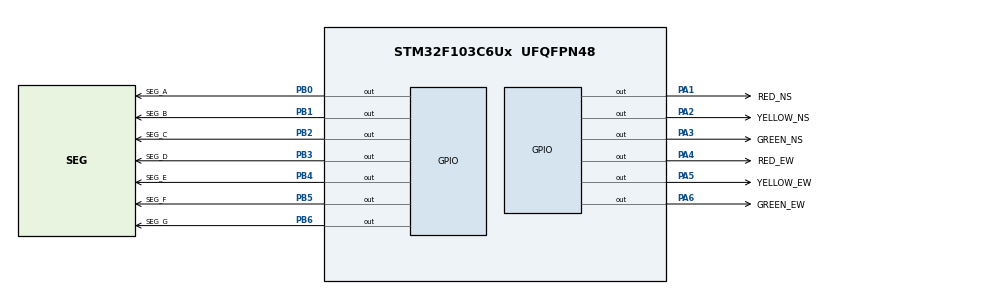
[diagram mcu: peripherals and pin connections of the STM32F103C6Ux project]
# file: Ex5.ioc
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Mcu.Family=STM32F1
Mcu.Name=STM32F103C6Ux
Mcu.Package=UFQFPN48
NVIC.PriorityGroup=NVIC_PRIORITYGROUP_4
PA1.GPIO_Label=RED_NS
PA1.Signal=GPIO_Output
PA2.GPIO_Label=YELLOW_NS
PA2.Signal=GPIO_Output
PA3.GPIO_Label=GREEN_NS
PA3.Signal=GPIO_Output
PA4.GPIO_Label=RED_EW
PA4.Signal=GPIO_Output
PA5.GPIO_Label=YELLOW_EW
PA5.Signal=GPIO_Output
PA6.GPIO_Label=GREEN_EW
PA6.Signal=GPIO_Output
PB0.GPIO_Label=SEG_A
PB0.Signal=GPIO_Output
PB1.GPIO_Label=SEG_B
PB1.Signal=GPIO_Output
PB2.GPIO_Label=SEG_C
PB2.Signal=GPIO_Output
PB3.GPIO_Label=SEG_D
PB3.Signal=GPIO_Output
PB4.GPIO_Label=SEG_E
PB4.Signal=GPIO_Output
PB5.GPIO_Label=SEG_F
PB5.Signal=GPIO_Output
PB6.GPIO_Label=SEG_G
PB6.Signal=GPIO_Output
ProjectManager.HeapSize=0x200
ProjectManager.StackSize=0x400
ProjectManager.TargetToolchain=STM32CubeIDE
RCC.APB1Freq_Value=8000000
RCC.APB2Freq_Value=8000000
VP_SYS_VS_ND.Mode=No_Debug
board=custom

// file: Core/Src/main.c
/* USER CODE BEGIN Header */
/**
  ******************************************************************************
  * @file           : main.c
  * @brief          : Main program body
  ******************************************************************************
  * @attention
  *
  * <h2><center>&copy; Copyright (c) 2026 STMicroelectronics.
  * All rights reserved.</center></h2>
  *
  * This software component is licensed by ST under BSD 3-Clause license,
  * the "License"; You may not use this file except in compliance with the
  * License. You may obtain a copy of the License at:
  *                        opensource.org/licenses/BSD-3-Clause
  *
  ******************************************************************************
  */
/* USER CODE END Header */
#include "main.h"

void SystemClock_Config(void);
static void MX_GPIO_Init(void);
/* USER CODE BEGIN PFP */
void display7SEG(int num);
/* USER CODE END PFP */

int main(void)
{

  /* MCU Configuration--------------------------------------------------------*/

  /* Reset of all peripherals, Initializes the Flash interface and the Systick. */
  HAL_Init();

  /* Configure the system clock */
  SystemClock_Config();

  /* Initialize all configured peripherals */
  MX_GPIO_Init();

  /* Infinite loop */
  /* USER CODE BEGIN WHILE */
  int sec;
  while (1)
  {
    /* USER CODE END WHILE */

    /* USER CODE BEGIN 3 */
    // ---- Giai đoạn 1: NS=GREEN (3s), EW=RED bắt đầu ----
    for (sec = 3; sec >= 1; sec--) {
        HAL_GPIO_WritePin(GPIOA, RED_NS_Pin, GPIO_PIN_SET);
        HAL_GPIO_WritePin(GPIOA, YELLOW_NS_Pin, GPIO_PIN_SET);
        HAL_GPIO_WritePin(GPIOA, GREEN_NS_Pin, GPIO_PIN_RESET);
        HAL_GPIO_WritePin(GPIOA, RED_EW_Pin, GPIO_PIN_RESET);
        HAL_GPIO_WritePin(GPIOA, YELLOW_EW_Pin, GPIO_PIN_SET);
        HAL_GPIO_WritePin(GPIOA, GREEN_EW_Pin, GPIO_PIN_SET);
        display7SEG(sec);
        HAL_Delay(1000);
    }

    // ---- Giai đoạn 2: NS=YELLOW (2s), EW=RED tiếp tục ----
    for (sec = 2; sec >= 1; sec--) {
        HAL_GPIO_WritePin(GPIOA, GREEN_NS_Pin, GPIO_PIN_SET);
        HAL_GPIO_WritePin(GPIOA, YELLOW_NS_Pin, GPIO_PIN_RESET);
        display7SEG(sec);
        HAL_Delay(1000);
    }

    // ---- Giai đoạn 3: NS=RED bắt đầu (kéo dài tổng 5s = GĐ3+GĐ4), EW=GREEN ----
    for (sec = 5; sec >= 3; sec--) {
        HAL_GPIO_WritePin(GPIOA, YELLOW_NS_Pin, GPIO_PIN_SET);
        HAL_GPIO_WritePin(GPIOA, RED_NS_Pin, GPIO_PIN_RESET);
        HAL_GPIO_WritePin(GPIOA, RED_EW_Pin, GPIO_PIN_SET);
        HAL_GPIO_WritePin(GPIOA, GREEN_EW_Pin, GPIO_PIN_RESET);
        display7SEG(sec);
        HAL_Delay(1000);
    }

    // ---- Giai đoạn 4: NS=RED tiếp tục, EW=YELLOW (2s) ----
    for (sec = 2; sec >= 1; sec--) {
        HAL_GPIO_WritePin(GPIOA, GREEN_EW_Pin, GPIO_PIN_SET);
        HAL_GPIO_WritePin(GPIOA, YELLOW_EW_Pin, GPIO_PIN_RESET);
        display7SEG(sec);
        HAL_Delay(1000);
    }
  }
  /* USER CODE END 3 */
}

void SystemClock_Config(void)
{
  RCC_OscInitTypeDef RCC_OscInitStruct = {0};
  RCC_ClkInitTypeDef RCC_ClkInitStruct = {0};

  /** Initializes the RCC Oscillators according to the specified parameters
  * in the RCC_OscInitTypeDef structure.
  */
  RCC_OscInitStruct.OscillatorType = RCC_OSCILLATORTYPE_HSI;
  RCC_OscInitStruct.HSIState = RCC_HSI_ON;
  RCC_OscInitStruct.HSICalibrationValue = RCC_HSICALIBRATION_DEFAULT;
  RCC_OscInitStruct.PLL.PLLState = RCC_PLL_NONE;
  if (HAL_RCC_OscConfig(&RCC_OscInitStruct) != HAL_OK)
  {
    Error_Handler();
  }
  /** Initializes the CPU, AHB and APB buses clocks
  */
  RCC_ClkInitStruct.ClockType = RCC_CLOCKTYPE_HCLK|RCC_CLOCKTYPE_SYSCLK
                              |RCC_CLOCKTYPE_PCLK1|RCC_CLOCKTYPE_PCLK2;
  RCC_ClkInitStruct.SYSCLKSource = RCC_SYSCLKSOURCE_HSI;
  RCC_ClkInitStruct.AHBCLKDivider = RCC_SYSCLK_DIV1;
  RCC_ClkInitStruct.APB1CLKDivider = RCC_HCLK_DIV1;
  RCC_ClkInitStruct.APB2CLKDivider = RCC_HCLK_DIV1;

  if (HAL_RCC_ClockConfig(&RCC_ClkInitStruct, FLASH_LATENCY_0) != HAL_OK)
  {
    Error_Handler();
  }
}

static void MX_GPIO_Init(void)
{
  GPIO_InitTypeDef GPIO_InitStruct = {0};

  /* GPIO Ports Clock Enable */
  __HAL_RCC_GPIOA_CLK_ENABLE();
  __HAL_RCC_GPIOB_CLK_ENABLE();

  /*Configure GPIO pin Output Level */
  HAL_GPIO_WritePin(GPIOA, RED_NS_Pin|YELLOW_NS_Pin|GREEN_NS_Pin|RED_EW_Pin
                          |YELLOW_EW_Pin|GREEN_EW_Pin, GPIO_PIN_RESET);

  /*Configure GPIO pin Output Level */
  HAL_GPIO_WritePin(GPIOB, SEG_A_Pin|SEG_B_Pin|SEG_C_Pin|SEG_D_Pin
                          |SEG_E_Pin|SEG_F_Pin|SEG_G_Pin, GPIO_PIN_RESET);

  /*Configure GPIO pins : RED_NS_Pin YELLOW_NS_Pin GREEN_NS_Pin RED_EW_Pin
                           YELLOW_EW_Pin GREEN_EW_Pin */
  GPIO_InitStruct.Pin = RED_NS_Pin|YELLOW_NS_Pin|GREEN_NS_Pin|RED_EW_Pin
                          |YELLOW_EW_Pin|GREEN_EW_Pin;
  GPIO_InitStruct.Mode = GPIO_MODE_OUTPUT_PP;
  GPIO_InitStruct.Pull = GPIO_NOPULL;
  GPIO_InitStruct.Speed = GPIO_SPEED_FREQ_LOW;
  HAL_GPIO_Init(GPIOA, &GPIO_InitStruct);

  /*Configure GPIO pins : SEG_A_Pin SEG_B_Pin SEG_C_Pin SEG_D_Pin
                           SEG_E_Pin SEG_F_Pin SEG_G_Pin */
  GPIO_InitStruct.Pin = SEG_A_Pin|SEG_B_Pin|SEG_C_Pin|SEG_D_Pin
                          |SEG_E_Pin|SEG_F_Pin|SEG_G_Pin;
  GPIO_InitStruct.Mode = GPIO_MODE_OUTPUT_PP;
  GPIO_InitStruct.Pull = GPIO_NOPULL;
  GPIO_InitStruct.Speed = GPIO_SPEED_FREQ_LOW;
  HAL_GPIO_Init(GPIOB, &GPIO_InitStruct);

}

/* USER CODE BEGIN 4 */
void display7SEG(int num)
{
    if (num == 0) {
        HAL_GPIO_WritePin(GPIOB, SEG_A_Pin, GPIO_PIN_RESET);
        HAL_GPIO_WritePin(GPIOB, SEG_B_Pin, GPIO_PIN_RESET);
        HAL_GPIO_WritePin(GPIOB, SEG_C_Pin, GPIO_PIN_RESET);
        HAL_GPIO_WritePin(GPIOB, SEG_D_Pin, GPIO_PIN_RESET);
        HAL_GPIO_WritePin(GPIOB, SEG_E_Pin, GPIO_PIN_RESET);
        HAL_GPIO_WritePin(GPIOB, SEG_F_Pin, GPIO_PIN_RESET);
        HAL_GPIO_WritePin(GPIOB, SEG_G_Pin, GPIO_PIN_SET);
    }
    else if (num == 1) {
        HAL_GPIO_WritePin(GPIOB, SEG_A_Pin, GPIO_PIN_SET);
        HAL_GPIO_WritePin(GPIOB, SEG_B_Pin, GPIO_PIN_RESET);
        HAL_GPIO_WritePin(GPIOB, SEG_C_Pin, GPIO_PIN_RESET);
        HAL_GPIO_WritePin(GPIOB, SEG_D_Pin, GPIO_PIN_SET);
        HAL_GPIO_WritePin(GPIOB, SEG_E_Pin, GPIO_PIN_SET);
        HAL_GPIO_WritePin(GPIOB, SEG_F_Pin, GPIO_PIN_SET);
        HAL_GPIO_WritePin(GPIOB, SEG_G_Pin, GPIO_PIN_SET);
    }
    else if (num == 2) {
        HAL_GPIO_WritePin(GPIOB, SEG_A_Pin, GPIO_PIN_RESET);
        HAL_GPIO_WritePin(GPIOB, SEG_B_Pin, GPIO_PIN_RESET);
        HAL_GPIO_WritePin(GPIOB, SEG_C_Pin, GPIO_PIN_SET);
        HAL_GPIO_WritePin(GPIOB, SEG_D_Pin, GPIO_PIN_RESET);
        HAL_GPIO_WritePin(GPIOB, SEG_E_Pin, GPIO_PIN_RESET);
        HAL_GPIO_WritePin(GPIOB, SEG_F_Pin, GPIO_PIN_SET);
        HAL_GPIO_WritePin(GPIOB, SEG_G_Pin, GPIO_PIN_RESET);
    }
    else if (num == 3) {
        HAL_GPIO_WritePin(GPIOB, SEG_A_Pin, GPIO_PIN_RESET);
        HAL_GPIO_WritePin(GPIOB, SEG_B_Pin, GPIO_PIN_RESET);
        HAL_GPIO_WritePin(GPIOB, SEG_C_Pin, GPIO_PIN_RESET);
        HAL_GPIO_WritePin(GPIOB, SEG_D_Pin, GPIO_PIN_RESET);
        HAL_GPIO_WritePin(GPIOB, SEG_E_Pin, GPIO_PIN_SET);
        HAL_GPIO_WritePin(GPIOB, SEG_F_Pin, GPIO_PIN_SET);
        HAL_GPIO_WritePin(GPIOB, SEG_G_Pin, GPIO_PIN_RESET);
    }
    else if (num == 4) {
        HAL_GPIO_WritePin(GPIOB, SEG_A_Pin, GPIO_PIN_SET);
        HAL_GPIO_WritePin(GPIOB, SEG_B_Pin, GPIO_PIN_RESET);
        HAL_GPIO_WritePin(GPIOB, SEG_C_Pin, GPIO_PIN_RESET);
        HAL_GPIO_WritePin(GPIOB, SEG_D_Pin, GPIO_PIN_SET);
        HAL_GPIO_WritePin(GPIOB, SEG_E_Pin, GPIO_PIN_SET);
        HAL_GPIO_WritePin(GPIOB, SEG_F_Pin, GPIO_PIN_RESET);
        HAL_GPIO_WritePin(GPIOB, SEG_G_Pin, GPIO_PIN_RESET);
    }
    else if (num == 5) {
        HAL_GPIO_WritePin(GPIOB, SEG_A_Pin, GPIO_PIN_RESET);
        HAL_GPIO_WritePin(GPIOB, SEG_B_Pin, GPIO_PIN_SET);
        HAL_GPIO_WritePin(GPIOB, SEG_C_Pin, GPIO_PIN_RESET);
        HAL_GPIO_WritePin(GPIOB, SEG_D_Pin, GPIO_PIN_RESET);
        HAL_GPIO_WritePin(GPIOB, SEG_E_Pin, GPIO_PIN_SET);
        HAL_GPIO_WritePin(GPIOB, SEG_F_Pin, GPIO_PIN_RESET);
        HAL_GPIO_WritePin(GPIOB, SEG_G_Pin, GPIO_PIN_RESET);
    }
    else if (num == 6) {
        HAL_GPIO_WritePin(GPIOB, SEG_A_Pin, GPIO_PIN_RESET);
        HAL_GPIO_WritePin(GPIOB, SEG_B_Pin, GPIO_PIN_SET);
        HAL_GPIO_WritePin(GPIOB, SEG_C_Pin, GPIO_PIN_RESET);
        HAL_GPIO_WritePin(GPIOB, SEG_D_Pin, GPIO_PIN_RESET);
        HAL_GPIO_WritePin(GPIOB, SEG_E_Pin, GPIO_PIN_RESET);
        HAL_GPIO_WritePin(GPIOB, SEG_F_Pin, GPIO_PIN_RESET);
        HAL_GPIO_WritePin(GPIOB, SEG_G_Pin, GPIO_PIN_RESET);
    }
    else if (num == 7) {
        HAL_GPIO_WritePin(GPIOB, SEG_A_Pin, GPIO_PIN_RESET);
        HAL_GPIO_WritePin(GPIOB, SEG_B_Pin, GPIO_PIN_RESET);
        HAL_GPIO_WritePin(GPIOB, SEG_C_Pin, GPIO_PIN_RESET);
        HAL_GPIO_WritePin(GPIOB, SEG_D_Pin, GPIO_PIN_SET);
        HAL_GPIO_WritePin(GPIOB, SEG_E_Pin, GPIO_PIN_SET);
        HAL_GPIO_WritePin(GPIOB, SEG_F_Pin, GPIO_PIN_SET);
        HAL_GPIO_WritePin(GPIOB, SEG_G_Pin, GPIO_PIN_SET);
    }
    else if (num == 8) {
        HAL_GPIO_WritePin(GPIOB, SEG_A_Pin, GPIO_PIN_RESET);
        HAL_GPIO_WritePin(GPIOB, SEG_B_Pin, GPIO_PIN_RESET);
        HAL_GPIO_WritePin(GPIOB, SEG_C_Pin, GPIO_PIN_RESET);
        HAL_GPIO_WritePin(GPIOB, SEG_D_Pin, GPIO_PIN_RESET);
        HAL_GPIO_WritePin(GPIOB, SEG_E_Pin, GPIO_PIN_RESET);
        HAL_GPIO_WritePin(GPIOB, SEG_F_Pin, GPIO_PIN_RESET);
        HAL_GPIO_WritePin(GPIOB, SEG_G_Pin, GPIO_PIN_RESET);
    }
    else if (num == 9) {
        HAL_GPIO_WritePin(GPIOB, SEG_A_Pin, GPIO_PIN_RESET);
        HAL_GPIO_WritePin(GPIOB, SEG_B_Pin, GPIO_PIN_RESET);
        HAL_GPIO_WritePin(GPIOB, SEG_C_Pin, GPIO_PIN_RESET);
        HAL_GPIO_WritePin(GPIOB, SEG_D_Pin, GPIO_PIN_RESET);
        HAL_GPIO_WritePin(GPIOB, SEG_E_Pin, GPIO_PIN_SET);
        HAL_GPIO_WritePin(GPIOB, SEG_F_Pin, GPIO_PIN_RESET);
        HAL_GPIO_WritePin(GPIOB, SEG_G_Pin, GPIO_PIN_RESET);
    }
    else {
        HAL_GPIO_WritePin(GPIOB, SEG_A_Pin, GPIO_PIN_SET);
        HAL_GPIO_WritePin(GPIOB, SEG_B_Pin, GPIO_PIN_SET);
        HAL_GPIO_WritePin(GPIOB, SEG_C_Pin, GPIO_PIN_SET);
        HAL_GPIO_WritePin(GPIOB, SEG_D_Pin, GPIO_PIN_SET);
        HAL_GPIO_WritePin(GPIOB, SEG_E_Pin, GPIO_PIN_SET);
        HAL_GPIO_WritePin(GPIOB, SEG_F_Pin, GPIO_PIN_SET);
        HAL_GPIO_WritePin(GPIOB, SEG_G_Pin, GPIO_PIN_SET);
    }
}
/* USER CODE END 4 */

void Error_Handler(void)
{
  __disable_irq();
  while (1)
  {
  }
}

/************************ (C) COPYRIGHT STMicroelectronics *****END OF FILE****/
